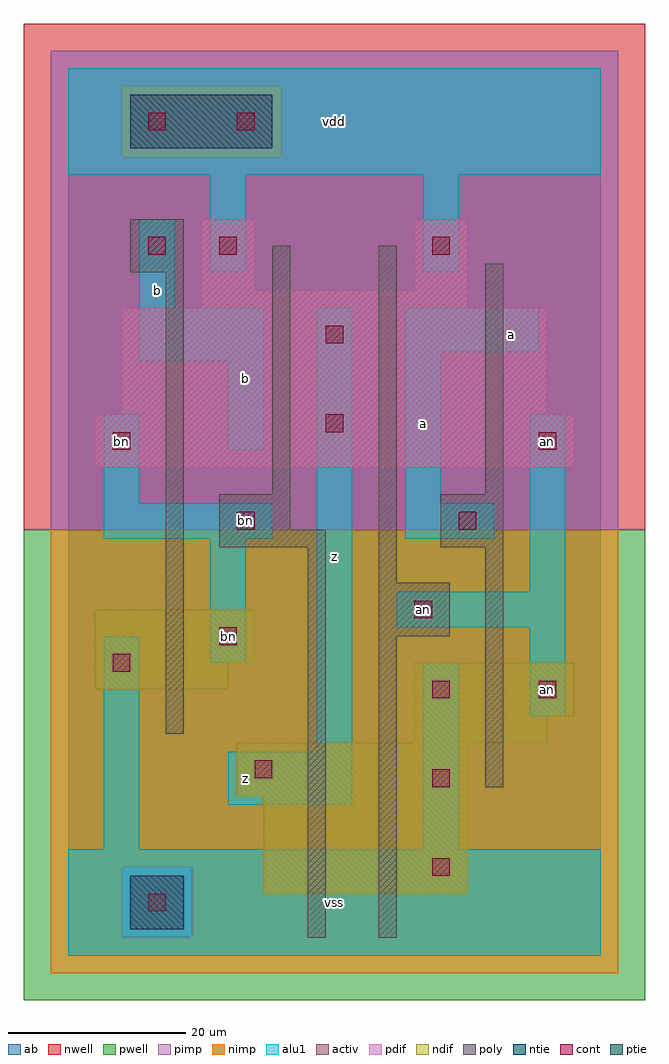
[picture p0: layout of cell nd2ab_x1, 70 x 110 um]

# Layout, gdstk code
import gdstk
lib = gdstk.Library(unit=1e-6, precision=1e-09)
def R(c, l, rs):  # rectangles x0, y0, x1, y1
    for r in rs: c.add(gdstk.rectangle(r[:2], r[2:], *l))
def A(c, l, x, y, w, h, nx, ny, dx, dy):  # array of equal rectangles
    R(c, l, [(x+i*dx, y+j*dy, x+i*dx+w, y+j*dy+h) for i in range(nx) for j in range(ny)])
ndif = (3, 0)
pdif = (4, 0)
ntie = (5, 0)
ptie = (6, 0)
cont = (25, 0)
pwell = (41, 0)
nwell = (42, 0)
activ = (43, 0)
pimp = (44, 0)
nimp = (45, 0)
poly = (46, 0)
alu1 = (49, 0)
ab = (63, 0)

nd2ab_x1 = lib.new_cell('nd2ab_x1')
R(nd2ab_x1, ndif, [(22,7,45,18), (19,18,45,24), (39,24,54,27), (39,27,57,33), (3,30,18,33), (3,33,21,39)])
R(nd2ab_x1, pdif, [(3,55,57,61), (6,61,54,73), (15,73,45,75), (15,75,21,83), (39,75,45,83)])
R(nd2ab_x1, ntie, [(7,91,23,97)])
R(nd2ab_x1, ptie, [(7,3,13,9)])
A(nd2ab_x1, cont, 41, 9, 2, 2, 1, 3, 0, 10)
R(nd2ab_x1, cont, [(9,5,11,7), (21,20,23,22), (53,29,55,31), (5,32,7,34), (17,35,19,37), (39,38,41,40), (19,48,21,50), (44,48,46,50), (5,57,7,59), (53,57,55,59), (29,59,31,61), (29,69,31,71), (9,79,11,81), (17,79,19,81), (41,79,43,81), (9,93,11,95), (19,93,21,95)])
R(nd2ab_x1, pwell, [(-5,-5,65,48)])
R(nd2ab_x1, nwell, [(-5,48,65,105)])
R(nd2ab_x1, activ, [(7,3,13,9), (22,7,45,18), (19,18,45,24), (39,24,54,27), (39,27,57,33), (3,30,18,33), (3,33,21,39), (3,55,57,61), (6,61,54,73), (15,73,45,75), (15,75,21,83), (39,75,45,83), (7,91,23,97)])
R(nd2ab_x1, pimp, [(6,2,14,10), (-2,48,62,90), (-2,90,6,98), (24,90,62,98), (-2,98,62,102)])
R(nd2ab_x1, nimp, [(-2,-2,62,2), (-2,2,6,10), (14,2,62,10), (-2,10,62,48), (6,90,24,98)])
R(nd2ab_x1, poly, [(27,2,29,46), (35,2,37,36), (47,19,49,46), (11,25,13,77), (35,36,43,42), (35,42,37,80), (17,46,29,48), (42,46,49,52), (17,48,25,52), (23,52,25,80), (47,52,49,78), (7,77,13,83)])
R(nd2ab_x1, alu1, [(0,0,60,12), (4,12,8,36), (40,12,44,33), (18,17,32,23), (28,23,32,73), (52,27,56,37), (16,33,20,47), (37,37,56,41), (52,41,56,61), (4,47,23,51), (38,47,48,51), (4,51,8,61), (38,51,42,68), (18,57,22,67), (8,67,22,73), (38,68,53,73), (8,73,12,83), (16,77,20,88), (40,77,44,88), (0,88,60,100)])
R(nd2ab_x1, ab, [(0,0,60,100)])
nd2ab_x1.add(gdstk.Label('bn', (18,36), layer=49, texttype=0))
nd2ab_x1.add(gdstk.Label('bn', (6,58), layer=49, texttype=0))
nd2ab_x1.add(gdstk.Label('bn', (20,49), layer=49, texttype=0))
nd2ab_x1.add(gdstk.Label('an', (54,30), layer=49, texttype=0))
nd2ab_x1.add(gdstk.Label('an', (40,39), layer=49, texttype=0))
nd2ab_x1.add(gdstk.Label('an', (54,58), layer=49, texttype=0))
nd2ab_x1.add(gdstk.Label('b', (10,75), layer=49, texttype=0))
nd2ab_x1.add(gdstk.Label('z', (20,20), layer=49, texttype=0))
nd2ab_x1.add(gdstk.Label('b', (20,65), layer=49, texttype=0))
nd2ab_x1.add(gdstk.Label('vss', (30,6), layer=49, texttype=0))
nd2ab_x1.add(gdstk.Label('z', (30,45), layer=49, texttype=0))
nd2ab_x1.add(gdstk.Label('a', (40,60), layer=49, texttype=0))
nd2ab_x1.add(gdstk.Label('vdd', (30,94), layer=49, texttype=0))
nd2ab_x1.add(gdstk.Label('a', (50,70), layer=49, texttype=0))

lib.write_gds('nd2ab_x1.gds')
